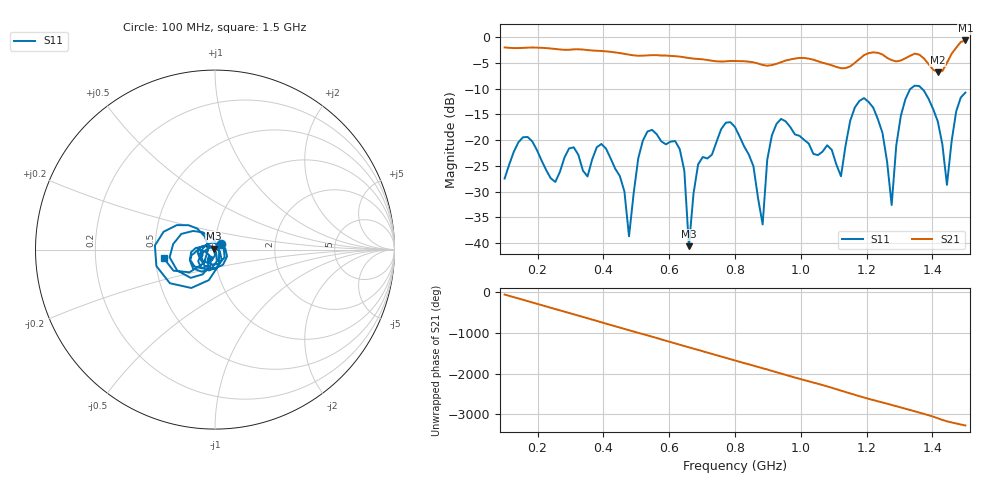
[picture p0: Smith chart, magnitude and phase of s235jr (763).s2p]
! NanoVNA-App
! Date: 2025-09-25 15:10:06
! Start: 100MHz Stop: 1,5GHz Points: 101
! S-Parameter data: F S11 S21 S12 S22
# Hz S RI R 50
!  Frequency  S11_Real  S11_Imag  S21_Real  S21_Imag  S12_Real  S12_Imag  S22_Real  S22_Imag
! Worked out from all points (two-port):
!   101 points, 100 MHz to 1.5 GHz, reference 50 ohm
!   highest |S21| = -0.60 dB at 1.5 GHz (marker M1); lowest = -6.8 dB at 1.416 GHz (marker M2)
!   |S21| within 3 dB of the highest: start of sweep to 602.6 MHz; 1.189 GHz to 1.254 GHz (64.45 MHz wide, 5.28 % of centre) (the widest 2 of 4)
!   lowest |S11| = -40.6 dB at 660 MHz (marker M3), VSWR 1.02, Z = 49.3 + j0.575 ohm
!   |S11| at or under -10 dB: start of sweep to 1.334 GHz; 1.368 GHz to end of sweep
!   S12 and S22 are empty: the file has one direction only
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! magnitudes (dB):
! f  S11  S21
! 100 MHz  -27.5  -2.0
! 156 MHz  -19.4  -2.1
! 338 MHz  -25.9  -2.4
! 408 MHz  -21.6  -2.7
! 478 MHz  -38.7  -3.4
! 520 MHz  -20.1  -3.6
! 576 MHz  -20.2  -3.5
! 632 MHz  -21.7  -3.7
! 660 MHz  -40.6  -4.0
! 688 MHz  -24.7  -4.2
! 800 MHz  -17.4  -4.6
! 884 MHz  -36.4  -5.4
! 926 MHz  -16.8  -5.2
! 1.038 GHz  -22.7  -4.3
! 1.122 GHz  -27.0  -6.0
! 1.192 GHz  -11.8  -3.5
! 1.248 GHz  -18.6  -3.3
! 1.276 GHz  -32.6  -4.4
! 1.332 GHz  -10.1  -3.6
! 1.416 GHz  -16.3  -6.8
! 1.444 GHz  -28.7  -5.0
! 1.5 GHz  -10.7  -0.6
